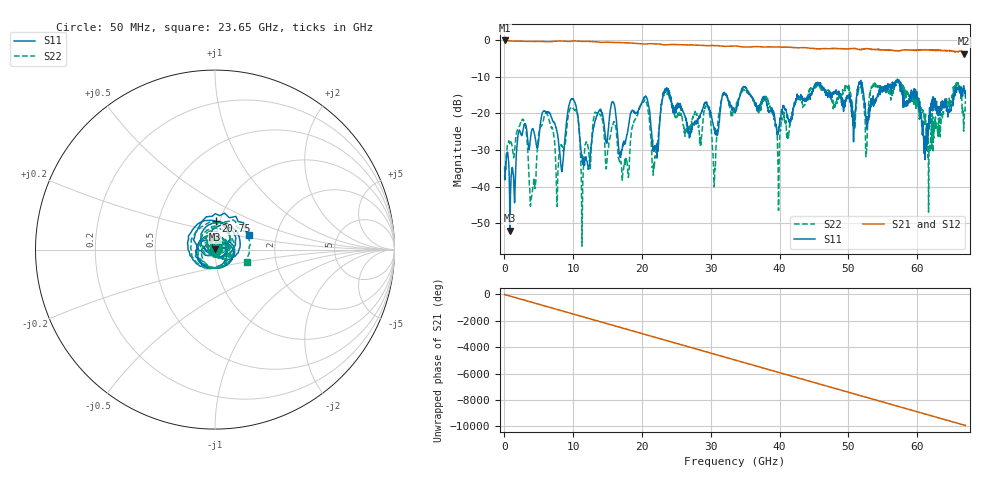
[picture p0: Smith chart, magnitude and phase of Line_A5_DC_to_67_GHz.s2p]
#  HZ  S  MA  R  50.00
! Rohde & Schwarz ZVA67 4Ports - Version 4.11 - 1305.7002k04 SN: 101051
! Date: 2023-05-31 14:07:25
! Measurements: S11 S21 S12 S22
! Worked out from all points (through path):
!   1340 points, 50 MHz to 67 GHz, reference 50 ohm
!   highest |S21| = -0.08 dB at 50 MHz (marker M1); lowest = -3.7 dB at 66.85 GHz (marker M2)
!   group delay of S21, straight-line fit = 411 ps
!   lowest |S11| = -52.0 dB at 850 MHz (marker M3), VSWR 1.01, Z = 49.8 + j0.196 ohm
!   |S11| at or under -10 dB: start of sweep to end of sweep
!   |S22| runs from -56.2 to -10.7 dB; largest |S21 - S12| = 0.27
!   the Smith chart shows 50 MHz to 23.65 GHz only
!   S11 on the Smith chart (normalised r, x): 50 MHz: 1.03, +0.01; 20.75 GHz: 0.96, +0.31; 23.65 GHz: 1.44, +0.25
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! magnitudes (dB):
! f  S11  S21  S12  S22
! 50 MHz  -37.0  -0.1  -0.1  -34.6
! 850 MHz  -52.0  -0.2  -0.2  -28.2
! 2.85 GHz  -23.4  -0.3  -0.3  -22.0
! 3.95 GHz  -24.9  -0.3  -0.3  -42.9
! 5.95 GHz  -19.5  -0.4  -0.4  -20.1
! 8.4 GHz  -35.8  -0.2  -0.2  -29.0
! 10 GHz  -16.0  -0.2  -0.2  -18.5
! 11.25 GHz  -31.8  -0.3  -0.3  -46.8
! 13.3 GHz  -21.6  -0.4  -0.4  -19.7
! 17.25 GHz  -28.9  -0.7  -0.7  -36.1
! 20.75 GHz  -16.1  -1.0  -1.0  -17.7
! 22.4 GHz  -28.9  -1.1  -1.1  -25.8
! 23.65 GHz  -13.7  -1.2  -1.3  -14.4
! 29.5 GHz  -17.5  -1.5  -1.5  -18.1
! 30.5 GHz  -24.5  -1.5  -1.4  -40.0
! 33.55 GHz  -19.8  -1.6  -1.6  -18.4
! 39.85 GHz  -25.0  -1.9  -1.9  -46.4
! 44.7 GHz  -14.0  -2.2  -2.2  -13.3
! 55.85 GHz  -12.8  -2.7  -2.7  -14.5
! 61.2 GHz  -27.3  -2.6  -2.7  -20.2
! 66.85 GHz  -13.4  -3.7  -3.6  -20.8
! 67 GHz  -15.7  -3.5  -3.4  -16.6
